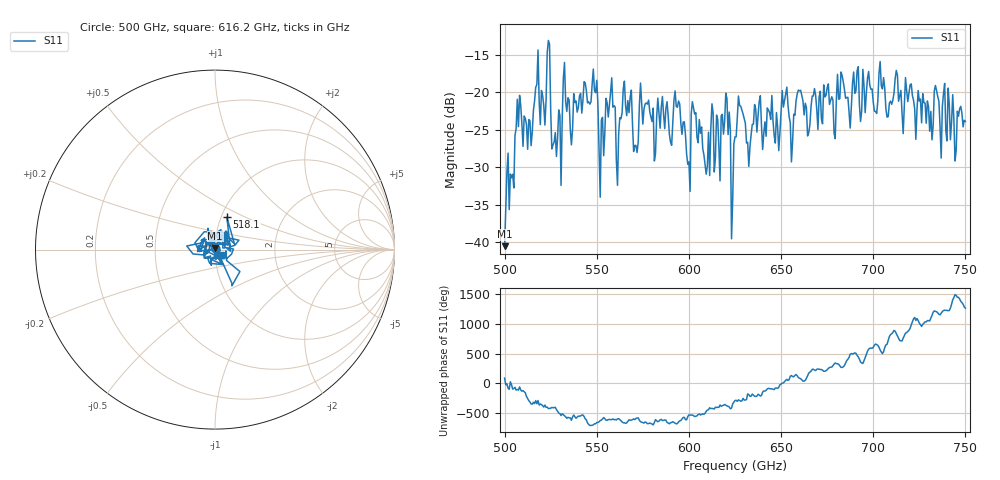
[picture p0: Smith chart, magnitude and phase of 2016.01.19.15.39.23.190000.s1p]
!Created with skrf (http://scikit-rf.org).
# GHz S RI R 50.0
!freq ReS11 ImS11
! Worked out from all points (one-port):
!   401 points, 500 GHz to 750 GHz, reference 50 ohm
!   lowest |S11| = -40.5 dB at 500 GHz (marker M1), VSWR 1.02, Z = 50 + j0.941 ohm
!   |S11| at or under -10 dB: start of sweep to end of sweep
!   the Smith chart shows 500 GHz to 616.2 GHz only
!   S11 on the Smith chart (normalised r, x): 500 GHz: 1.00, +0.02; 518.1 GHz: 1.06, +0.40; 616.2 GHz: 1.06, -0.07
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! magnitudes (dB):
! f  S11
! 500 GHz  -40.5
! 507.5 GHz  -24.6
! 513.8 GHz  -23.8
! 518.1 GHz  -14.3
! 523.8 GHz  -13.1
! 526.9 GHz  -26.6
! 531.2 GHz  -23.5
! 548.8 GHz  -19.7
! 552.5 GHz  -23.7
! 556.9 GHz  -21.6
! 562.5 GHz  -23.4
! 565.6 GHz  -21.7
! 571.2 GHz  -27.1
! 574.4 GHz  -21.5
! 593.8 GHz  -22.0
! 599.4 GHz  -29.6
! 602.5 GHz  -22.1
! 608.8 GHz  -29.6
! 616.2 GHz  -27.2
! 625 GHz  -25.9
! 628.1 GHz  -21.8
! 632.5 GHz  -29.9
! 651.9 GHz  -21.1
! 656.2 GHz  -26.6
! 660 GHz  -19.8
! 687.5 GHz  -24.8
! 718.8 GHz  -21.2
! 750 GHz  -23.9
